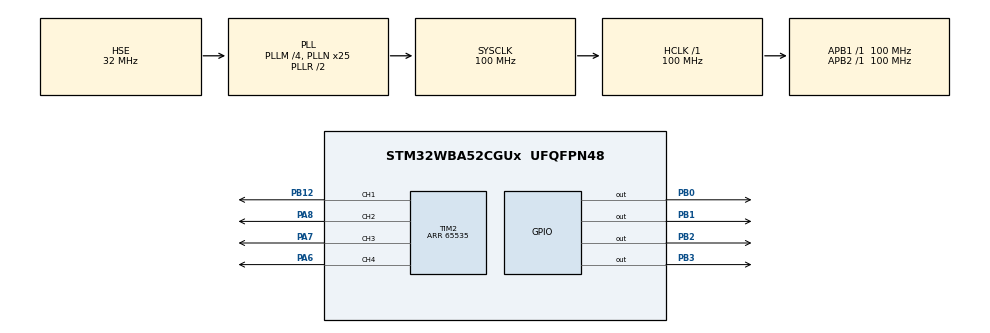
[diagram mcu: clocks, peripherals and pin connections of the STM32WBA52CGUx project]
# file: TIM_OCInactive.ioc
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CORTEX_M33_NS.userName=CORTEX_M33
Mcu.Family=STM32WBA
Mcu.Name=STM32WBA52CGUx
Mcu.Package=UFQFPN48
NVIC.PriorityGroup=NVIC_PRIORITYGROUP_4
NVIC.TIM2_IRQn=true\:0\:0\:false\:false\:true\:true\:true\:true
OSC_IN.Mode=HSE-External-Oscillator
OSC_IN.Signal=RCC_OSC_IN
OSC_OUT.Mode=HSE-External-Oscillator
OSC_OUT.Signal=RCC_OSC_OUT
PA6.GPIO_PuPd=GPIO_PULLUP
PA6.GPIO_Speed=GPIO_SPEED_FREQ_HIGH
PA6.Signal=S_TIM2_CH4
PA7.GPIO_PuPd=GPIO_PULLUP
PA7.GPIO_Speed=GPIO_SPEED_FREQ_HIGH
PA7.Signal=S_TIM2_CH3
PA8.GPIO_PuPd=GPIO_PULLUP
PA8.GPIO_Speed=GPIO_SPEED_FREQ_HIGH
PA8.Signal=S_TIM2_CH2
PB0.GPIO_PuPd=GPIO_PULLUP
PB0.GPIO_Speed=GPIO_SPEED_FREQ_HIGH
PB0.Signal=GPIO_Output
PB1.GPIO_PuPd=GPIO_PULLUP
PB1.GPIO_Speed=GPIO_SPEED_FREQ_HIGH
PB1.Signal=GPIO_Output
PB12.GPIO_PuPd=GPIO_PULLUP
PB12.GPIO_Speed=GPIO_SPEED_FREQ_HIGH
PB12.Signal=S_TIM2_CH1
PB2.GPIO_PuPd=GPIO_PULLUP
PB2.GPIO_Speed=GPIO_SPEED_FREQ_HIGH
PB2.Signal=GPIO_Output
PB3\ (JTDO/TRACESWO).GPIO_PuPd=GPIO_PULLUP
PB3\ (JTDO/TRACESWO).GPIO_Speed=GPIO_SPEED_FREQ_HIGH
PB3\ (JTDO/TRACESWO).Signal=GPIO_Output
ProjectManager.HeapSize=0x200
ProjectManager.StackSize=0x400
ProjectManager.TargetToolchain=EWARM V9.20
RCC.ADCFreq_Value=100000000
RCC.AHB5CLKDivider=DIV4
RCC.AHBFreq_Value=100000000
RCC.APB1Freq_Value=100000000
RCC.APB1TimFreq_Value=100000000
RCC.APB2Freq_Value=100000000
RCC.APB2TimFreq_Value=100000000
RCC.CortexFreq_Value=100000000
RCC.HCLKFreq_Value=100000000
RCC.HSE_VALUE=32000000
RCC.HSI_VALUE=16000000
RCC.LSE_VALUE=32768
RCC.PLLFRACN=0
RCC.PLLM=4
RCC.PLLN=25
RCC.PLLSourceVirtual=RCC_PLLSOURCE_HSE
RCC.SYSCLKFreq_VALUE=100000000
RCC.SYSCLKSourceVirtual=RCC_SYSCLKSOURCE_PLLCLK
RCC.VCOOutputFreq_Value=200000000
SH.S_TIM2_CH1.0=TIM2_CH1,Output Compare1 CH1
SH.S_TIM2_CH2.0=TIM2_CH2,Output Compare2 CH2
SH.S_TIM2_CH3.0=TIM2_CH3,Output Compare3 CH3
SH.S_TIM2_CH4.0=TIM2_CH4,Output Compare4 CH4
TIM2.AutoReloadPreload=TIM_AUTORELOAD_PRELOAD_DISABLE
TIM2.Channel-Output\ Compare1\ CH1=TIM_CHANNEL_1
TIM2.Channel-Output\ Compare2\ CH2=TIM_CHANNEL_2
TIM2.Channel-Output\ Compare3\ CH3=TIM_CHANNEL_3
TIM2.Channel-Output\ Compare4\ CH4=TIM_CHANNEL_4
TIM2.ClearInputSource=TIM_CLEARINPUTSOURCE_NONE
TIM2.ClockDivision=TIM_CLOCKDIVISION_DIV1
TIM2.CounterMode=TIM_COUNTERMODE_UP
TIM2.OC1Preload=DISABLE
TIM2.OC2Preload=DISABLE
TIM2.OC3Preload=DISABLE
TIM2.OC4Preload=DISABLE
TIM2.OCMode_1=TIM_OCMODE_INACTIVE
TIM2.OCMode_2=TIM_OCMODE_INACTIVE
TIM2.OCMode_3=TIM_OCMODE_INACTIVE
TIM2.OCMode_4=TIM_OCMODE_INACTIVE
TIM2.OCPolarity_1=TIM_OCPOLARITY_HIGH
TIM2.OCPolarity_2=TIM_OCPOLARITY_HIGH
TIM2.OCPolarity_3=TIM_OCPOLARITY_HIGH
TIM2.OCPolarity_4=TIM_OCPOLARITY_HIGH
TIM2.Period=65535
TIM2.Prescaler=PRESCALER_VALUE
TIM2.PulseNoDither_1=PULSE1_VALUE
TIM2.PulseNoDither_2=PULSE2_VALUE
TIM2.PulseNoDither_3=PULSE3_VALUE
TIM2.PulseNoDither_4=PULSE4_VALUE
TIM2.TIM_MasterOutputTrigger=TIM_TRGO_RESET
TIM2.TIM_MasterSlaveMode=TIM_MASTERSLAVEMODE_DISABLE
VP_ICACHE_VS_ICACHE.Mode=DirectMappedCache
VP_PWR_VS_SECSignals.Mode=Security/Privilege
board=custom

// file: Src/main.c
/* USER CODE BEGIN Header */
/**
  ******************************************************************************
  * @file    TIM/TIM_OCInactive/Src/main.c
  * @author  MCD Application Team
  * @brief   This example shows how to configure the Timer to generate four
  *          delayed signals.
  ******************************************************************************
  * @attention
  *
  * Copyright (c) 2022 STMicroelectronics.
  * All rights reserved.
  *
  * This software is licensed under terms that can be found in the LICENSE file
  * in the root directory of this software component.
  * If no LICENSE file comes with this software, it is provided AS-IS.
  *
  ******************************************************************************
  */
/* USER CODE END Header */
#include "main.h"

TIM_HandleTypeDef htim2;

void SystemClock_Config(void);
static void MX_GPIO_Init(void);
static void MX_TIM2_Init(void);
static void MX_ICACHE_Init(void);

int main(void)
{
  /* USER CODE BEGIN 1 */
  /* STM32WBAxx HAL library initialization:
       - Systick timer is configured by default as source of time base, but user
             can eventually implement his proper time base source (a general purpose
             timer for example or other time source), keeping in mind that Time base
             duration should be kept 1ms since PPP_TIMEOUT_VALUEs are defined and
             handled in milliseconds basis.
       - Set NVIC Group Priority to 4
       - Low Level Initialization
     */
  /* USER CODE END 1 */

  /* MCU Configuration--------------------------------------------------------*/

  /* Reset of all peripherals, Initializes the Flash interface and the Systick. */
  HAL_Init();

  /* Configure the system clock */
  SystemClock_Config();

  /* Initialize all configured peripherals */
  MX_GPIO_Init();
  MX_TIM2_Init();
  MX_ICACHE_Init();
  /* USER CODE BEGIN 2 */
  /*## Set GPIO Pins PB0, PB1, PB2 and PB3 as reference ###################*/
  HAL_GPIO_WritePin(GPIOB, GPIO_PIN_0, GPIO_PIN_SET);
  HAL_GPIO_WritePin(GPIOB, GPIO_PIN_1, GPIO_PIN_SET);
  HAL_GPIO_WritePin(GPIOB, GPIO_PIN_2, GPIO_PIN_SET);
  HAL_GPIO_WritePin(GPIOB, GPIO_PIN_3, GPIO_PIN_SET);

  /*## Start signals generation #######################################*/
  /* Start channel 1 in Output compare mode */
  if(HAL_TIM_OC_Start_IT(&htim2, TIM_CHANNEL_1) != HAL_OK)
  {
    /* Starting Error */
    Error_Handler();
  }
  /* Start channel 2 in Output compare mode */
  if(HAL_TIM_OC_Start_IT(&htim2, TIM_CHANNEL_2) != HAL_OK)
  {
    /* Starting Error */
    Error_Handler();
  }
  /* Start channel 3 in Output compare mode */
  if(HAL_TIM_OC_Start_IT(&htim2, TIM_CHANNEL_3) != HAL_OK)
  {
    /* Starting Error */
    Error_Handler();
  }
  /* Start channel 4 in Output compare mode */
  if(HAL_TIM_OC_Start_IT(&htim2, TIM_CHANNEL_4) != HAL_OK)
  {
    /* Starting Error */
    Error_Handler();
  }

  /* USER CODE END 2 */

  /* Infinite loop */
  while (1)
  {

  }
}

void SystemClock_Config(void)
{
  RCC_OscInitTypeDef RCC_OscInitStruct = {0};
  RCC_ClkInitTypeDef RCC_ClkInitStruct = {0};

  /** Configure the main internal regulator output voltage
  */
  if (HAL_PWREx_ControlVoltageScaling(PWR_REGULATOR_VOLTAGE_SCALE1) != HAL_OK)
  {
    Error_Handler();
  }

  /** Initializes the CPU, AHB and APB busses clocks
  */
  RCC_OscInitStruct.OscillatorType = RCC_OSCILLATORTYPE_HSE;
  RCC_OscInitStruct.HSEState = RCC_HSE_ON;
  RCC_OscInitStruct.HSEDiv = RCC_HSE_DIV1;
  RCC_OscInitStruct.PLL1.PLLState = RCC_PLL_ON;
  RCC_OscInitStruct.PLL1.PLLSource = RCC_PLLSOURCE_HSE;
  RCC_OscInitStruct.PLL1.PLLM = 4;
  RCC_OscInitStruct.PLL1.PLLN = 25;
  RCC_OscInitStruct.PLL1.PLLP = 2;
  RCC_OscInitStruct.PLL1.PLLQ = 2;
  RCC_OscInitStruct.PLL1.PLLR = 2;
  RCC_OscInitStruct.PLL1.PLLFractional = 0;
  if (HAL_RCC_OscConfig(&RCC_OscInitStruct) != HAL_OK)
  {
    Error_Handler();
  }

  /** Initializes the CPU, AHB and APB busses clocks
  */
  RCC_ClkInitStruct.ClockType = RCC_CLOCKTYPE_HCLK|RCC_CLOCKTYPE_SYSCLK
                              |RCC_CLOCKTYPE_PCLK1|RCC_CLOCKTYPE_PCLK2
                              |RCC_CLOCKTYPE_PCLK7|RCC_CLOCKTYPE_HCLK5;
  RCC_ClkInitStruct.SYSCLKSource = RCC_SYSCLKSOURCE_PLLCLK;
  RCC_ClkInitStruct.AHBCLKDivider = RCC_SYSCLK_DIV1;
  RCC_ClkInitStruct.APB1CLKDivider = RCC_HCLK_DIV1;
  RCC_ClkInitStruct.APB2CLKDivider = RCC_HCLK_DIV1;
  RCC_ClkInitStruct.APB7CLKDivider = RCC_HCLK_DIV1;
  RCC_ClkInitStruct.AHB5_PLL1_CLKDivider = RCC_SYSCLK_PLL1_DIV4;
  RCC_ClkInitStruct.AHB5_HSEHSI_CLKDivider = RCC_SYSCLK_HSEHSI_DIV1;

  if (HAL_RCC_ClockConfig(&RCC_ClkInitStruct, FLASH_LATENCY_3) != HAL_OK)
  {
    Error_Handler();
  }
}

static void MX_ICACHE_Init(void)
{

  /** Enable instruction cache in 1-way (direct mapped cache)
  */
  if (HAL_ICACHE_ConfigAssociativityMode(ICACHE_1WAY) != HAL_OK)
  {
    Error_Handler();
  }
  if (HAL_ICACHE_Enable() != HAL_OK)
  {
    Error_Handler();
  }

}

static void MX_TIM2_Init(void)
{

  TIM_MasterConfigTypeDef sMasterConfig = {0};
  TIM_OC_InitTypeDef sConfigOC = {0};

  htim2.Instance = TIM2;
  htim2.Init.Prescaler = PRESCALER_VALUE;
  htim2.Init.CounterMode = TIM_COUNTERMODE_UP;
  htim2.Init.Period = 65535;
  htim2.Init.ClockDivision = TIM_CLOCKDIVISION_DIV1;
  htim2.Init.AutoReloadPreload = TIM_AUTORELOAD_PRELOAD_DISABLE;
  if (HAL_TIM_OC_Init(&htim2) != HAL_OK)
  {
    Error_Handler();
  }
  sMasterConfig.MasterOutputTrigger = TIM_TRGO_RESET;
  sMasterConfig.MasterSlaveMode = TIM_MASTERSLAVEMODE_DISABLE;
  if (HAL_TIMEx_MasterConfigSynchronization(&htim2, &sMasterConfig) != HAL_OK)
  {
    Error_Handler();
  }
  sConfigOC.OCMode = TIM_OCMODE_INACTIVE;
  sConfigOC.Pulse = PULSE1_VALUE;
  sConfigOC.OCPolarity = TIM_OCPOLARITY_HIGH;
  sConfigOC.OCFastMode = TIM_OCFAST_DISABLE;
  if (HAL_TIM_OC_ConfigChannel(&htim2, &sConfigOC, TIM_CHANNEL_1) != HAL_OK)
  {
    Error_Handler();
  }
  sConfigOC.Pulse = PULSE2_VALUE;
  if (HAL_TIM_OC_ConfigChannel(&htim2, &sConfigOC, TIM_CHANNEL_2) != HAL_OK)
  {
    Error_Handler();
  }
  sConfigOC.Pulse = PULSE3_VALUE;
  if (HAL_TIM_OC_ConfigChannel(&htim2, &sConfigOC, TIM_CHANNEL_3) != HAL_OK)
  {
    Error_Handler();
  }
  sConfigOC.Pulse = PULSE4_VALUE;
  if (HAL_TIM_OC_ConfigChannel(&htim2, &sConfigOC, TIM_CHANNEL_4) != HAL_OK)
  {
    Error_Handler();
  }
  HAL_TIM_MspPostInit(&htim2);

}

static void MX_GPIO_Init(void)
{
  GPIO_InitTypeDef GPIO_InitStruct = {0};

  /* GPIO Ports Clock Enable */
  __HAL_RCC_GPIOB_CLK_ENABLE();
  __HAL_RCC_GPIOA_CLK_ENABLE();

  /*Configure GPIO pin Output Level */
  HAL_GPIO_WritePin(GPIOB, GPIO_PIN_3|GPIO_PIN_2|GPIO_PIN_1|GPIO_PIN_0, GPIO_PIN_RESET);

  /*Configure GPIO pins : PB3 PB2 PB1 PB0 */
  GPIO_InitStruct.Pin = GPIO_PIN_3|GPIO_PIN_2|GPIO_PIN_1|GPIO_PIN_0;
  GPIO_InitStruct.Mode = GPIO_MODE_OUTPUT_PP;
  GPIO_InitStruct.Pull = GPIO_PULLUP;
  GPIO_InitStruct.Speed = GPIO_SPEED_FREQ_HIGH;
  HAL_GPIO_Init(GPIOB, &GPIO_InitStruct);

}

/* USER CODE BEGIN 4 */
/**
  * @brief  Output Compare callback in non blocking mode
  * @param  htim : TIM OC handle
  * @retval None
  */
void HAL_TIM_OC_DelayElapsedCallback(TIM_HandleTypeDef *htim)
{
  if(htim->Channel == HAL_TIM_ACTIVE_CHANNEL_1)
  {
    /* Reset GPIO Pin PB0 after 1s */
    HAL_GPIO_WritePin(GPIOB, GPIO_PIN_0, GPIO_PIN_RESET);
  }
  else if(htim->Channel == HAL_TIM_ACTIVE_CHANNEL_2)
  {
    /* Reset GPIO Pin PB1 after 500ms */
    HAL_GPIO_WritePin(GPIOB, GPIO_PIN_1, GPIO_PIN_RESET);
  }
  else if(htim->Channel == HAL_TIM_ACTIVE_CHANNEL_3)
  {
    /* Reset GPIO Pin PB2 after 250ms */
    HAL_GPIO_WritePin(GPIOB, GPIO_PIN_2, GPIO_PIN_RESET);
  }
  else
  {
    /* Reset GPIO Pin PB3 after 125ms */
    HAL_GPIO_WritePin(GPIOB, GPIO_PIN_3, GPIO_PIN_RESET);
  }
}

/* USER CODE END 4 */

void Error_Handler(void)
{
  while(1)
  {
  }
}
